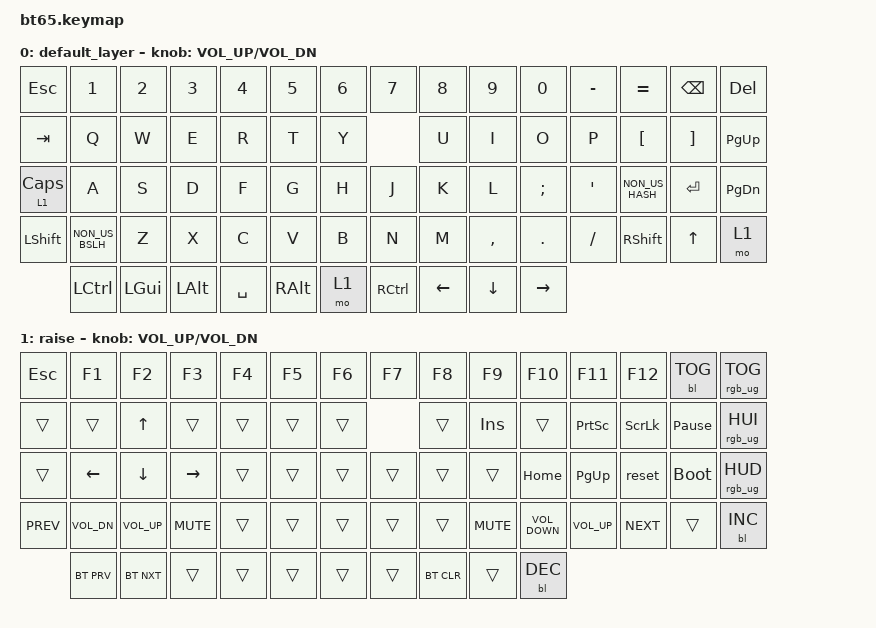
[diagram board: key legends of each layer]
#include <behaviors.dtsi>
#include <dt-bindings/zmk/keys.h>
#include <dt-bindings/zmk/backlight.h>
#include <dt-bindings/zmk/rgb.h>
#include <dt-bindings/zmk/bt.h>

/ {
    keymap {
        compatible = "zmk,keymap";

        default_layer {
            // ------------------------------------------------------------------------------------------------------------
            // |  `  |  1  |  2  |  3  |  4  |  5  |  6  |  7  |  8  |  9  |  0  |  -  |  =  |BKSP | INS		|
            // | TAB  |  Q  |  W  |  E  |  R  |  T  |  Y  |  U  |  I  |  O  |  P  |  [  |  ]  |   \    | DEL		|
            // | CAPS  |  A  |  S  |  D  |  F  |  G  |  H  |  J  |  K  |  L  |  ;  |  '  |     ENTER    |PGUP	|
            // |  SHIFT  |  Z  |  X  |  C  |  V  |  B  |  N  |  M  |  ,  |  .  | /   |   SHIFT  | UP   | PGDN|
            // |  CTL  |  WIN  |  ALT  |            SPACE               | ALT | 1    |  MENU| LEFT |  DOWN    | RIGHT	|
            // ------------------------------------------------------------------------------------------------------------

            bindings = <
   &kp ESC           &kp N1    &kp N2    &kp N3     &kp N4    &kp N5  &kp N6     &kp N7    &kp N8     &kp N9     &kp N0  &kp MINUS        &kp EQUAL  &kp BKSP    &kp DEL
   &kp TAB            &kp Q     &kp W     &kp E      &kp R     &kp T   &kp Y      &kp U     &kp I      &kp O      &kp P   &kp LBKT         &kp RBKT            &kp PG_UP
&lt 1 CAPS            &kp A     &kp S     &kp D      &kp F     &kp G   &kp H      &kp J     &kp K      &kp L   &kp SEMI    &kp SQT  &kp NON_US_HASH   &kp RET  &kp PG_DN
 &kp LSHFT  &kp NON_US_BSLH     &kp Z     &kp X      &kp C     &kp V   &kp B      &kp N     &kp M  &kp COMMA    &kp DOT   &kp FSLH        &kp RSHFT    &kp UP      &mo 1
                  &kp LCTRL  &kp LGUI  &kp LALT  &kp SPACE  &kp RALT   &mo 1  &kp RCTRL  &kp LEFT   &kp DOWN  &kp RIGHT
            >;

            sensor-bindings = <&inc_dec_kp C_VOL_UP C_VOL_DN>;
        };

        raise {
            bindings = <
   &kp ESC        &kp F1        &kp F2      &kp F3  &kp F4  &kp F5  &kp F6  &kp F7      &kp F8      &kp F9            &kp F10       &kp F11          &kp F12   &bl BL_TOG  &rgb_ug RGB_TOG
    &trans        &trans        &kp UP      &trans  &trans  &trans  &trans  &trans     &kp INS      &trans          &kp PSCRN      &kp SLCK  &kp PAUSE_BREAK               &rgb_ug RGB_HUI
    &trans      &kp LEFT      &kp DOWN   &kp RIGHT  &trans  &trans  &trans  &trans      &trans      &trans           &kp HOME     &kp PG_UP           &reset  &bootloader  &rgb_ug RGB_HUD
&kp C_PREV  &kp C_VOL_DN  &kp C_VOL_UP  &kp C_MUTE  &trans  &trans  &trans  &trans      &trans  &kp K_MUTE  &kp C_VOLUME_DOWN  &kp C_VOL_UP       &kp C_NEXT       &trans       &bl BL_INC
              &bt BT_PRV    &bt BT_NXT      &trans  &trans  &trans  &trans  &trans  &bt BT_CLR      &trans         &bl BL_DEC
            >;

            sensor-bindings = <&inc_dec_kp C_VOL_UP C_VOL_DN>;
        };
    };
};
